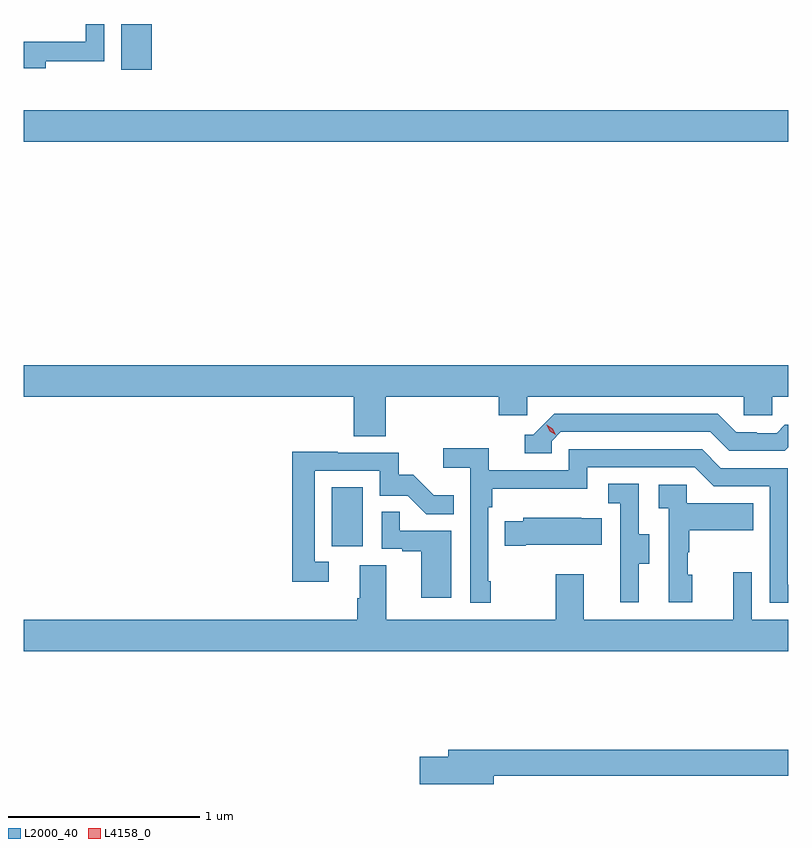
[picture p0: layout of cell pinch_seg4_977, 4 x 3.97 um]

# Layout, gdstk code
import gdstk
lib = gdstk.Library(unit=1e-6, precision=1e-09)
def R(c, l, rs):  # rectangles x0, y0, x1, y1
    for r in rs: c.add(gdstk.rectangle(r[:2], r[2:], *l))
def P(c, l, *ps):  # polygons
    for p in ps: c.add(gdstk.Polygon(p, *l))
L2000_40 = (2000, 40)
L4158_0 = (4158, 0)

pinch_seg4_977 = lib.new_cell('pinch_seg4_977')
R(pinch_seg4_977, L2000_40, [(831.542,788.046,831.706,788.353), (829.931,790.16,833.931,790.324), (830.441,790.536,830.602,790.776)])
P(pinch_seg4_977, L2000_40, [(830.047,790.582),(830.352,790.582),(830.352,790.776),(830.256,790.776),(830.256,790.683),(829.943,790.683),(829.943,790.684),(829.931,790.684),(829.931,790.544),(830.047,790.544)],
  [(829.931,788.828),(831.659,788.828),(831.659,788.62),(831.824,788.62),(831.824,788.828),(832.415,788.828),(832.415,788.73),(832.566,788.73),(832.566,788.828),(833.697,788.828),(833.697,788.73),(833.847,788.73),(833.847,788.828),(833.931,788.828),(833.931,788.992),(829.931,788.992)],
  [(832.692,788.595),(832.74,788.643),(833.523,788.643),(833.622,788.544),(833.911,788.544),(833.931,788.564),(833.931,788.68),(833.911,788.68),(833.869,788.637),(833.766,788.637),(833.766,788.64),(833.659,788.64),(833.56,788.739),(832.707,788.739),(832.596,788.628),(832.553,788.628),(832.553,788.532),(832.692,788.532)],
  [(832.375,787.861),(832.362,787.861),(832.362,788.249),(832.382,788.249),(832.382,788.345),(832.878,788.345),(832.878,788.457),(833.442,788.457),(833.541,788.358),(833.832,788.358),(833.832,787.749),(833.931,787.749),(833.931,787.845),(833.928,787.845),(833.928,788.454),(833.578,788.454),(833.479,788.553),(832.782,788.553),(832.782,788.442),(832.364,788.442),(832.364,788.558),(832.125,788.558),(832.125,788.456),(832.266,788.456),(832.266,787.749),(832.375,787.749)],
  [(831.526,787.965),(831.453,787.965),(831.453,788.439),(831.795,788.439),(831.795,788.31),(831.939,788.31),(832.037,788.212),(832.181,788.212),(832.181,788.311),(832.077,788.311),(831.97,788.418),(831.894,788.418),(831.894,788.535),(831.575,788.535),(831.575,788.54),(831.337,788.54),(831.337,787.86),(831.526,787.86)],
  [(833.149,787.954),(833.203,787.954),(833.203,788.109),(833.148,788.109),(833.148,788.372),(832.989,788.372),(832.989,788.269),(833.052,788.269),(833.052,787.965),(833.051,787.965),(833.051,787.752),(833.149,787.752)],
  [(833.428,787.896),(833.403,787.896),(833.403,788.015),(833.413,788.015),(833.413,788.129),(833.747,788.129),(833.747,788.269),(833.4,788.269),(833.4,788.367),(833.253,788.367),(833.253,788.243),(833.304,788.243),(833.304,787.752),(833.428,787.752)],
  [(832.168,788.127),(831.899,788.127),(831.899,788.225),(831.804,788.225),(831.804,788.031),(831.911,788.031),(831.911,788.019),(832.01,788.019),(832.01,787.776),(832.168,787.776)],
  [(832.558,788.054),(832.955,788.054),(832.955,788.191),(832.847,788.191),(832.847,788.194),(832.545,788.194),(832.545,788.176),(832.447,788.176),(832.447,788.047),(832.558,788.047)],
  [(833.931,787.66),(833.739,787.66),(833.739,787.909),(833.642,787.909),(833.642,787.66),(832.861,787.66),(832.861,787.9),(832.714,787.9),(832.714,787.66),(831.829,787.66),(831.829,787.946),(831.689,787.946),(831.689,787.772),(831.677,787.772),(831.677,787.66),(829.931,787.66),(829.931,787.496),(833.931,787.496)],
  [(832.39,786.844),(833.931,786.844),(833.931,786.98),(832.151,786.98),(832.151,786.944),(832.002,786.944),(832.002,786.802),(832.39,786.802)])
P(pinch_seg4_977, L4158_0, [(832.714,788.628),(832.683,788.647),(832.667,788.679),(832.667,788.68),(832.667,788.68),(832.698,788.66),(832.714,788.628),(832.714,788.628)])

lib.write_gds('pinch_seg4_977.gds')
